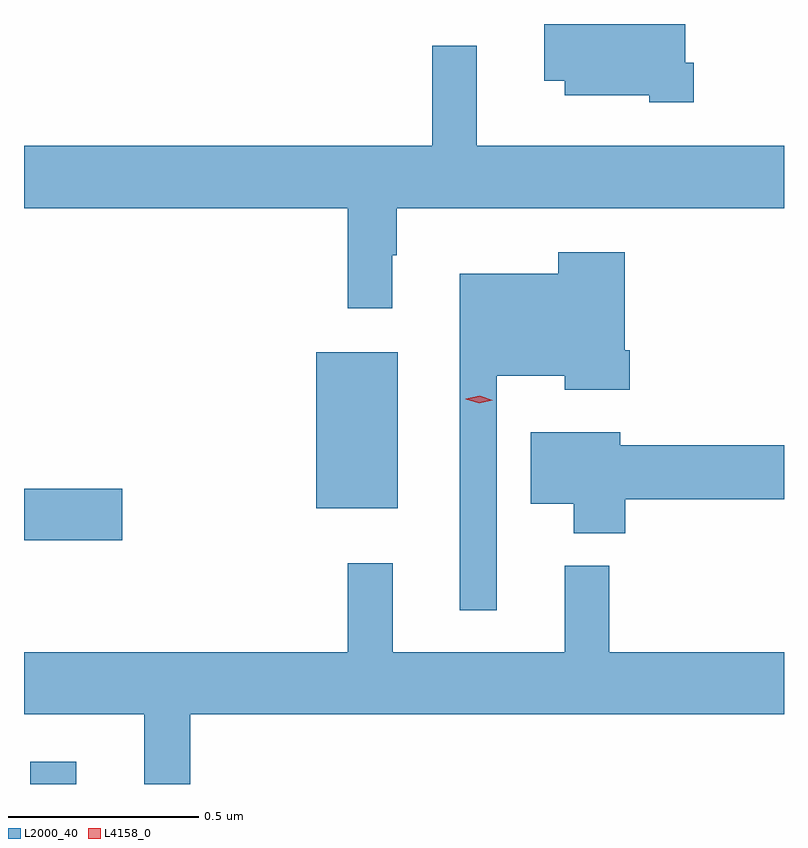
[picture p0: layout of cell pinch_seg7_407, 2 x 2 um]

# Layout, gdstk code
import gdstk
lib = gdstk.Library(unit=1e-6, precision=1e-09)
def R(c, l, rs):  # rectangles x0, y0, x1, y1
    for r in rs: c.add(gdstk.rectangle(r[:2], r[2:], *l))
def P(c, l, *ps):  # polygons
    for p in ps: c.add(gdstk.Polygon(p, *l))
L2000_40 = (2000, 40)
L4158_0 = (4158, 0)

pinch_seg7_407 = lib.new_cell('pinch_seg7_407')
R(pinch_seg7_407, L2000_40, [(516.696,1029.737,516.817,1029.796), (516.679,1030.379,516.937,1030.514), (517.448,1030.463,517.663,1030.873)])
P(pinch_seg7_407, L2000_40, [(518.441,1031.635),(518.419,1031.635),(518.419,1031.737),(518.048,1031.737),(518.048,1031.588),(518.102,1031.588),(518.102,1031.549),(518.325,1031.549),(518.325,1031.531),(518.441,1031.531)],
  [(517.648,1031.129),(517.66,1031.129),(517.66,1031.252),(518.679,1031.252),(518.679,1031.416),(517.871,1031.416),(517.871,1031.68),(517.753,1031.68),(517.753,1031.416),(516.679,1031.416),(516.679,1031.252),(517.531,1031.252),(517.531,1030.989),(517.648,1030.989)],
  [(517.923,1030.811),(518.102,1030.811),(518.102,1030.775),(518.273,1030.775),(518.273,1030.879),(518.26,1030.879),(518.26,1031.137),(518.085,1031.137),(518.085,1031.08),(517.826,1031.08),(517.826,1030.194),(517.923,1030.194)],
  [(518.261,1030.486),(518.679,1030.486),(518.679,1030.628),(518.248,1030.628),(518.248,1030.663),(518.012,1030.663),(518.012,1030.475),(518.126,1030.475),(518.126,1030.397),(518.261,1030.397)],
  [(517.117,1029.92),(518.679,1029.92),(518.679,1030.084),(518.219,1030.084),(518.219,1030.312),(518.102,1030.312),(518.102,1030.084),(517.649,1030.084),(517.649,1030.318),(517.531,1030.318),(517.531,1030.084),(516.679,1030.084),(516.679,1029.92),(516.995,1029.92),(516.995,1029.737),(517.117,1029.737)])
P(pinch_seg7_407, L4158_0, [(517.877,1030.739),(517.842,1030.75),(517.842,1030.75),(517.842,1030.751),(517.878,1030.759),(517.912,1030.747),(517.913,1030.747),(517.912,1030.747)])

lib.write_gds('pinch_seg7_407.gds')
